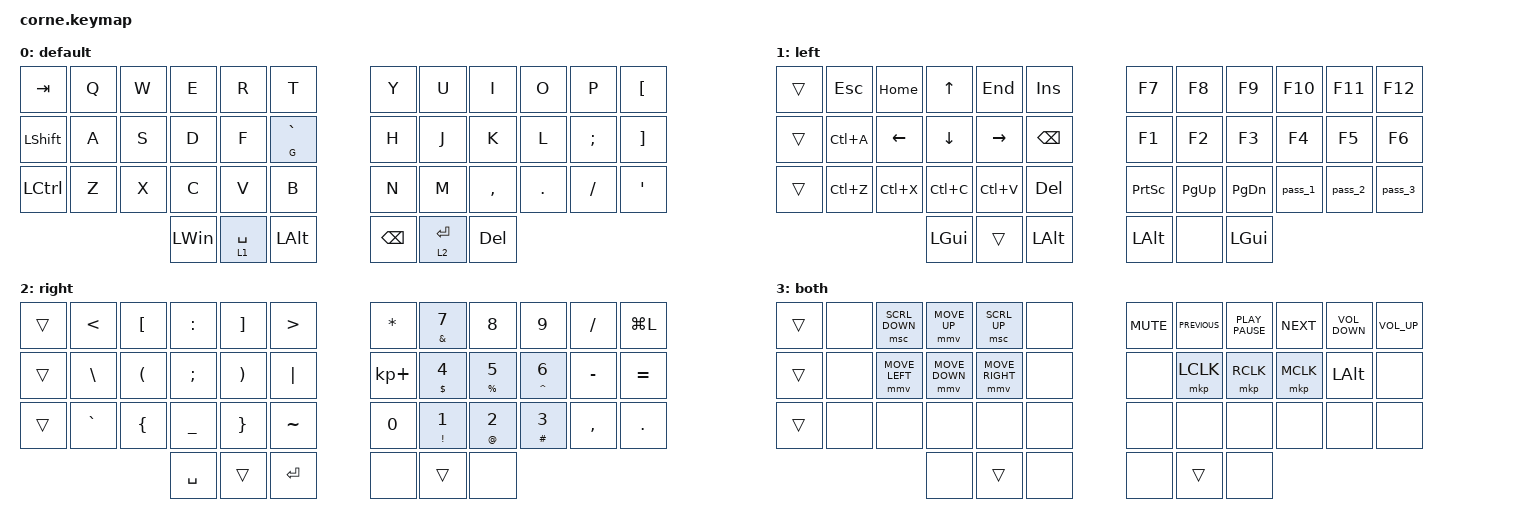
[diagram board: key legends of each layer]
/*
 * Copyright (c) 2020 The ZMK Contributors
 *
 * SPDX-License-Identifier: MIT
 */

#include <behaviors.dtsi>
#include <dt-bindings/zmk/keys.h>
#include <dt-bindings/zmk/pointing.h>

/ {
    combos {
        compatible = "zmk,combos";

        combo_esc {
            timeout-ms = <50>;
            key-positions = <0 1>;
            bindings = <&kp ESC>;
        };

        leg {
            bindings = <&kp LG(SPACE)>;
            key-positions = <17 18>;
        };

        block {
            bindings = <&kp LG(L)>;
            key-positions = <10 11>;
        };
    };

    behaviors {
        ss_hs_modmorph: ss_hs_modmorph {
            compatible = "zmk,behavior-mod-morph";
            label = "SS_HS_MODMORPH";
            bindings = <&kp M>, <&kp RIGHT_BRACKET>;

            #binding-cells = <0>;
            mods = <(MOD_LSFT|MOD_RSFT)>;
        };

        kh_hs_tapdance: kh_hs_tapdance {
            compatible = "zmk,behavior-tap-dance";
            label = "KH_HS_TAPDANCE";
            #binding-cells = <0>;
            tapping-term-ms = <200>;
            bindings = <&kp LEFT_BRACKET>, <&kp RIGHT_BRACKET>;
        };

        hrm: hrm {
            compatible = "zmk,behavior-hold-tap";
            #binding-cells = <2>;
            flavor = "tap-preferred";
            tapping-term-ms = <200>;
            quick-tap-ms = <200>;
            require-prior-idle-ms = <125>;
            bindings = <&kp>, <&kp>;
        };

        hml: hml {
            compatible = "zmk,behavior-hold-tap";
            label = "HML";
            #binding-cells = <2>;
            tapping-term-ms = <200>;
            bindings = <&mo>, <&kp>;
        };
    };

    macros {
        pass_1: pass_1 {
            compatible = "zmk,behavior-macro";
            #binding-cells = <0>;
            bindings = <&kp P &kp A &kp S &kp S &kp UNDER &kp N1>;
            label = "PASS_1";
        };

        pass_2: pass_2 {
            compatible = "zmk,behavior-macro";
            #binding-cells = <0>;
            bindings = <&kp P &kp A &kp S &kp S &kp UNDER &kp N2>;
            label = "PASS_2";
        };

        pass_3: pass_3 {
            compatible = "zmk,behavior-macro";
            #binding-cells = <0>;
            bindings = <&kp P &kp A &kp S &kp S &kp UNDER &kp N3>;
            label = "PASS_3";
        };
    };

    keymap {
        compatible = "zmk,keymap";

        default {
            // -----------------------------------------------------------------------------------------
            // |  TAB |  Q  |  W  |  E  |  R  |  T  |   |  Y  |  U   |  I  |  O  |  P  | BKSP |
            // | CTRL |  A  |  S  |  D  |  F  |  G  |   |  H  |  J   |  K  |  L  |  ;  |  '   |
            // | SHFT |  Z  |  X  |  C  |  V  |  B  |   |  N  |  M   |  ,  |  .  |  /  | ESC  |
            //                    | GUI | LWR | SPC |   | ENT | RSE  | ALT |

            bindings = <
&kp TAB           &kp Q  &kp W  &kp E         &kp R         &kp T           &kp Y          &kp U         &kp I       &kp O    &kp P     &kp LBKT
&kp LEFT_SHIFT    &kp A  &kp S  &kp D         &kp F         &hrm G GRAVE    &kp H          &kp J         &kp K       &kp L    &kp SEMI  &kp RBKT
&kp LEFT_CONTROL  &kp Z  &kp X  &kp C         &kp V         &kp B           &kp N          &kp M         &kp COMMA   &kp DOT  &kp FSLH  &kp APOS
                                &kp LEFT_WIN  &hml 1 SPACE  &kp LEFT_ALT    &kp BACKSPACE  &hml 2 ENTER  &kp DELETE
            >;
        };

        left {
            bindings = <
&trans  &kp ESC    &kp HOME   &kp UP        &kp END    &kp INSERT    &kp F7           &kp F8       &kp F9         &kp F10  &kp F11  &kp F12
&trans  &kp LC(A)  &kp LEFT   &kp DOWN      &kp RIGHT  &kp BSPC      &kp F1           &kp F2       &kp F3         &kp F4   &kp F5   &kp F6
&trans  &kp LC(Z)  &kp LC(X)  &kp LC(C)     &kp LC(V)  &kp DELETE    &kp PRINTSCREEN  &kp PAGE_UP  &kp PAGE_DOWN  &pass_1  &pass_2  &pass_3
                              &kp LEFT_GUI  &trans     &kp LALT      &kp LALT         &none        &kp LGUI
            >;
        };

        right {
            bindings = <
&trans  &kp LESS_THAN  &kp LEFT_BRACKET      &kp COLON       &kp RIGHT_BRACKET      &kp GREATER_THAN    &kp ASTRK    &hrm AMPERSAND N7          &kp N8           &kp N9         &kp SLASH  &kp LG(L)
&trans  &kp BACKSLASH  &kp LEFT_PARENTHESIS  &kp SEMICOLON   &kp RIGHT_PARENTHESIS  &kp PIPE            &kp KP_PLUS  &hrm DOLLAR N4             &hrm PERCENT N5  &hrm CARET N6  &kp MINUS  &kp EQUAL
&trans  &kp GRAVE      &kp LEFT_BRACE        &kp UNDERSCORE  &kp RIGHT_BRACE        &kp TILDE           &kp N0       &hrm EXCLAMATION NUMBER_1  &hrm AT_SIGN N2  &hrm POUND N3  &kp COMMA  &kp DOT
                                             &kp SPACE       &trans                 &kp ENTER           &none        &trans                     &none
            >;
        };

        both {
            bindings = <
&trans  &none  &msc SCRL_DOWN  &mmv MOVE_UP    &msc SCRL_UP     &none    &kp K_MUTE  &kp K_PREVIOUS  &kp K_PLAY_PAUSE  &kp K_NEXT  &kp C_VOLUME_DOWN  &kp C_VOL_UP
&trans  &none  &mmv MOVE_LEFT  &mmv MOVE_DOWN  &mmv MOVE_RIGHT  &none    &none       &mkp LCLK       &mkp RCLK         &mkp MCLK   &kp LALT           &none
&trans  &none  &none           &none           &none            &none    &none       &none           &none             &none       &none              &none
                               &none           &trans           &none    &none       &trans          &none
            >;
        };
    };

    conditional_layers {
        compatible = "zmk,conditional-layers";

        Both {
            if-layers = <1 2>;
            then-layer = <3>;
        };
    };
};
